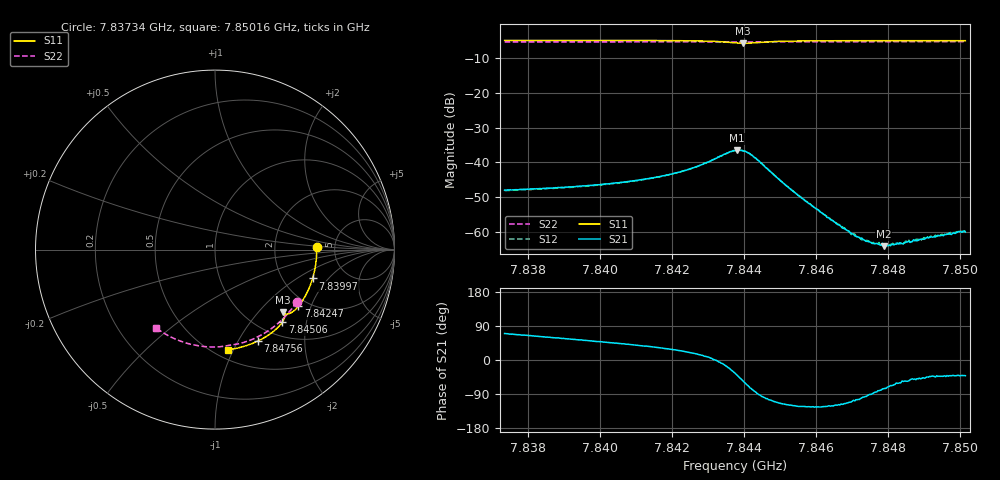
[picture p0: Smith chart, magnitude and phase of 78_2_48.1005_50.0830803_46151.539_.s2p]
#  HZ  S  RI  R  50.00
! Rohde & Schwarz Vector Network Analyzer
! Rohde-Schwarz,ZNB20-2Port,1311601062101988,3.16
! Created: UTC 12/23/2023, 3:42:28 AM
! freq[Hz]  re:S11  im:S11  re:S21  im:S21  re:S12  im:S12  re:S22  im:S22
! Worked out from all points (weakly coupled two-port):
!   401 points, 7.83734 GHz to 7.85016 GHz, reference 50 ohm
!   highest |S21| = -36.48 dB at 7.84381 GHz (marker M1); lowest = -64.1 dB at 7.84788 GHz (marker M2)
!   lowest |S11| = -5.8 dB at 7.84397 GHz (marker M3), VSWR 3.13, Z = 72.3 - j68.8 ohm
!   |S11| at or under -10 dB: nowhere
!   |S22| runs from -5.4 to -5.3 dB; largest |S21 - S12| = 0.00033
!   S11 on the Smith chart (normalised r, x): 7.83734 GHz: 3.61, +0.13; 7.83997 GHz: 2.90, -1.37; 7.84247 GHz: 1.77, -1.64; 7.84506 GHz: 1.25, -1.46; 7.84756 GHz: 0.81, -1.21; 7.85016 GHz: 0.58, -0.95
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7.837341e9  0.5665 0.0126  0.00137 0.00375  0.00138 0.00369  0.4548 -0.2907
7.839488e9  0.552 -0.1296  0.00276 0.00366  0.00275 0.00357  0.3579 -0.4053
7.839968e9  0.5437 -0.1608  0.00315 0.00358  0.0031 0.00354  0.3319 -0.4269
7.840993e9  0.5194 -0.226  0.00424 0.00346  0.0042 0.00344  0.2726 -0.4674
7.841634e9  0.4991 -0.2658  0.00525 0.00335  0.00518 0.00334  0.233 -0.4887
7.842467e9  0.4651 -0.3157  0.00747 0.00276  0.00739 0.00277  0.1788 -0.5109
7.843268e9  0.4165 -0.3555  0.0119 -0.000673  0.0117 -0.00062  0.1244 -0.5261
7.843748e9  0.3824 -0.356  0.0121 -0.00845  0.0121 -0.0083  0.0921 -0.5312
7.843812e9  0.3801 -0.3539  0.0114 -0.00975  0.0115 -0.00961  0.0881 -0.5319
7.843972e9  0.3789 -0.3491  0.0083 -0.012  0.00839 -0.0121  0.0781 -0.5331
7.844101e9  0.3818 -0.3481  0.00543 -0.0127  0.00546 -0.0126  0.0699 -0.5349
7.844261e9  0.3865 -0.3526  0.002 -0.0119  0.00199 -0.0119  0.0596 -0.5368
7.845062e9  0.3746 -0.4054  -0.00222 -0.00468  -0.00224 -0.00471  0.00398 -0.5427
7.845894e9  0.3335 -0.4497  -0.0013 -0.00198  -0.00131 -0.00198  -0.0548 -0.5408
7.84692e9  0.2753 -0.4903  -0.000379 -0.000949  -0.000379 -0.000918  -0.1262 -0.5298
7.847304e9  0.2524 -0.5029  -0.000109 -0.000774  -0.000158 -0.000758  -0.1523 -0.5229
7.84756e9  0.2368 -0.5104  8.21e-06 -0.000683  1.65e-06 -0.000691  -0.1696 -0.5178
7.847881e9  0.2169 -0.5194  0.000156 -0.000603  0.000156 -0.00065  -0.1908 -0.5105
7.848041e9  0.2072 -0.5235  0.000222 -0.000604  0.000237 -0.000603  -0.2014 -0.5064
7.848393e9  0.185 -0.5316  0.000385 -0.000559  0.000373 -0.000588  -0.224 -0.4971
7.849642e9  0.1044 -0.553  0.000699 -0.000609  0.000682 -0.000634  -0.3011 -0.4554
7.850155e9  0.0708 -0.558  0.000746 -0.000656  0.000756 -0.000715  -0.3306 -0.4348
